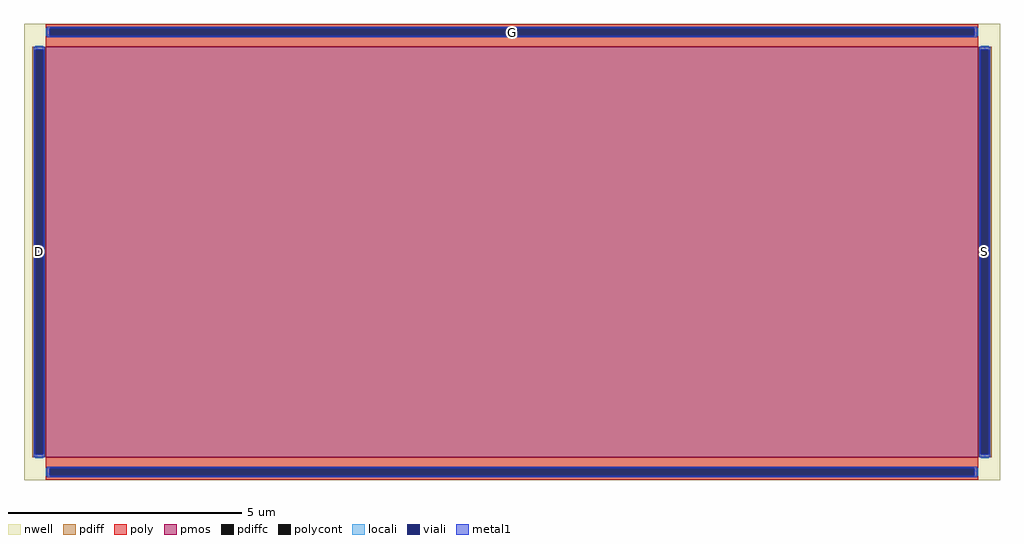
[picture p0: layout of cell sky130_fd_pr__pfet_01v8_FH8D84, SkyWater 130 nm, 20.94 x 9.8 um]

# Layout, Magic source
magic
tech sky130A
magscale 1 2
<< nwell >>
rect -2094 -980 2094 980
<< pmos >>
rect -2000 -880 2000 880
<< pdiff >>
rect -2058 868 -2000 880
rect -2058 -868 -2046 868
rect -2012 -868 -2000 868
rect -2058 -880 -2000 -868
rect 2000 868 2058 880
rect 2000 -868 2012 868
rect 2046 -868 2058 868
rect 2000 -880 2058 -868
<< pdiffc >>
rect -2046 -868 -2012 868
rect 2012 -868 2046 868
<< poly >>
rect -2000 961 2000 977
rect -2000 927 -1984 961
rect 1984 927 2000 961
rect -2000 880 2000 927
rect -2000 -927 2000 -880
rect -2000 -961 -1984 -927
rect 1984 -961 2000 -927
rect -2000 -977 2000 -961
<< polycont >>
rect -1984 927 1984 961
rect -1984 -961 1984 -927
<< locali >>
rect -2000 927 -1984 961
rect 1984 927 2000 961
rect -2046 868 -2012 884
rect -2046 -884 -2012 -868
rect 2012 868 2046 884
rect 2012 -884 2046 -868
rect -2000 -961 -1984 -927
rect 1984 -961 2000 -927
<< viali >>
rect -1984 927 1984 961
rect -2046 -868 -2012 868
rect 2012 -868 2046 868
rect -1984 -961 1984 -927
<< metal1 >>
rect -1996 961 1996 967
rect -1996 927 -1984 961
rect 1984 927 1996 961
rect -1996 921 1996 927
rect -2052 868 -2006 880
rect -2052 -868 -2046 868
rect -2012 -868 -2006 868
rect -2052 -880 -2006 -868
rect 2006 868 2052 880
rect 2006 -868 2012 868
rect 2046 -868 2052 868
rect 2006 -880 2052 -868
rect -1996 -927 1996 -921
rect -1996 -961 -1984 -927
rect 1984 -961 1996 -927
rect -1996 -967 1996 -961
<< labels >>
rlabel pdiffc -2029 0 -2029 0 0 D
port 1 nsew
rlabel pdiffc 2029 0 2029 0 0 S
port 2 nsew
rlabel polycont 0 944 0 944 0 G
port 3 nsew
<< properties >>
string gencell sky130_fd_pr__pfet_01v8
string library sky130
string parameters w 8.8 l 20 m 1 nf 1 diffcov 100 polycov 100 guard 0 glc 1 grc 1 gtc 1 gbc 1 tbcov 100 rlcov 100 topc 1 botc 1 poverlap 0 doverlap 1 lmin 0.15 wmin 0.42 class mosfet compatible {sky130_fd_pr__pfet_01v8  sky130_fd_pr__pfet_01v8_lvt sky130_fd_pr__pfet_01v8_hvt  sky130_fd_pr__pfet_g5v0d10v5} full_metal 1 conn_gates 0 viasrc 100 viadrn 100 viagate 100 viagb 0 viagr 0 viagl 0 viagt 0 doports 1
<< end >>
